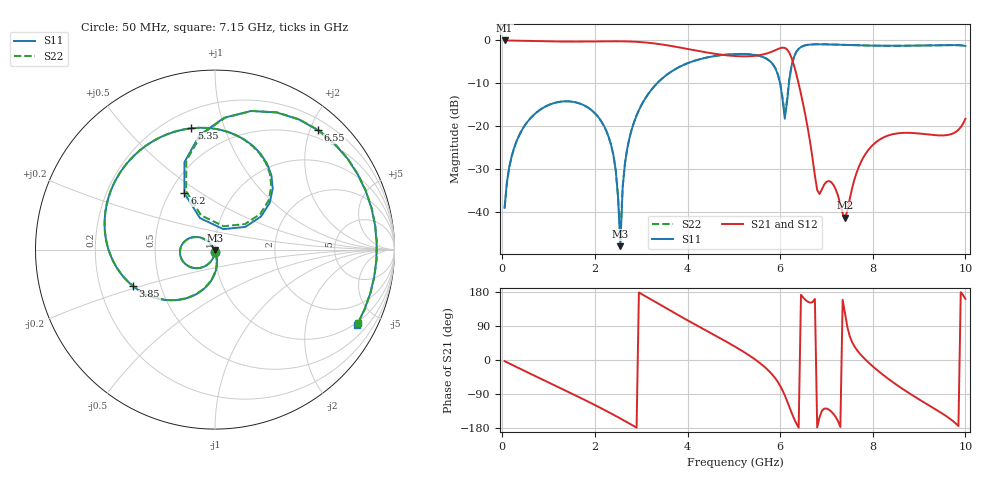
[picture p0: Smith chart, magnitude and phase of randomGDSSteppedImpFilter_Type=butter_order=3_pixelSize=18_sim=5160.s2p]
! freq	dB(S11)	phase(S11)	dB(S12)	phase(S12)
!  dB(S21)	phase(S21)	dB(S22)	phase(S22)
!S-par simulation data
#  GHz  S  DB  R 50
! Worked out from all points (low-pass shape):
!   200 points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, 50 MHz to 10 GHz, reference 50 ohm
!   highest |S21| = -0.01 dB at 50 MHz (marker M1); lowest = -41.2 dB at 7.4 GHz (marker M2)
!   |S21| within 3 dB of the highest: start of sweep to 4.531 GHz; 5.719 GHz to 6.204 GHz (484.9 MHz wide, 8.13 % of centre)
!   lowest |S11| = -47.8 dB at 2.55 GHz (marker M3), VSWR 1.01, Z = 49.8 - j0.364 ohm
!   |S11| at or under -10 dB: start of sweep to 3.34 GHz; 6 GHz to 6.19 GHz (190.1 MHz wide, 3.12 % of centre)
!   |S22| runs from -45.0 to -0.9 dB; largest |S21 - S12| = 0
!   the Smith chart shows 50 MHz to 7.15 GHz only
!   S11 on the Smith chart (normalised r, x): 50 MHz: 1.00, -0.02; 3.85 GHz: 0.35, -0.19; 5.35 GHz: 0.30, +0.78; 6.2 GHz: 0.59, +0.43; 6.55 GHz: 0.37, +2.14; 7.15 GHz: 0.91, -3.84
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0.05  -38.92 -92.2  -0.01 -3.1  -0.01 -3.1  -38.92 -92.2
0.55  -18.83 -123.3  -0.10 -32.9  -0.10 -32.9  -18.83 -123.3
1.75  -15.01 166.0  -0.27 -103.6  -0.27 -103.6  -15.01 166.4
2.35  -24.34 130.2  -0.20 -141.1  -0.20 -141.1  -24.32 132.0
2.55  -47.84 -115.8  -0.20 -154.3  -0.20 -154.3  -45.02 -130.6
2.6  -34.11 -76.5  -0.21 -157.7  -0.21 -157.7  -33.95 -82.8
2.75  -22.50 -80.9  -0.25 -167.9  -0.25 -167.9  -22.50 -82.7
3.4  -9.36 -124.9  -0.86 146.3  -0.86 146.3  -9.36 -125.3
3.85  -6.02 -155.9  -1.68 114.9  -1.68 114.9  -6.02 -156.1
5.05  -3.16 123.5  -3.64 33.5  -3.64 33.5  -3.16 123.7
5.35  -3.24 101.1  -3.67 10.6  -3.67 10.6  -3.23 101.5
5.9  -6.57 46.7  -2.25 -49.2  -2.25 -49.2  -6.53 48.2
6.1  -18.20 68.0  -1.73 -93.3  -1.73 -93.3  -17.15 69.8
6.2  -8.95 118.5  -2.90 -124.4  -2.90 -124.4  -8.79 116.3
6.55  -1.12 49.1  -17.72 158.2  -17.72 158.2  -1.11 49.1
6.7  -0.93 27.7  -27.46 152.6  -27.46 152.6  -0.92 27.9
6.85  -0.90 8.5  -35.69 -151.2  -35.69 -151.2  -0.89 8.9
7.15  -0.96 -27.8  -33.56 -142.1  -33.56 -142.1  -0.95 -27.1
7.4  -1.04 -57.3  -41.24 123.1  -41.24 123.1  -1.03 -56.5
8.35  -1.25 -159.6  -22.05 -51.1  -22.05 -51.1  -1.25 -159.0
9.25  -1.15 124.7  -21.94 -122.3  -21.94 -122.3  -1.15 124.9
10  -1.30 70.2  -18.23 161.2  -18.23 161.2  -1.31 70.1
